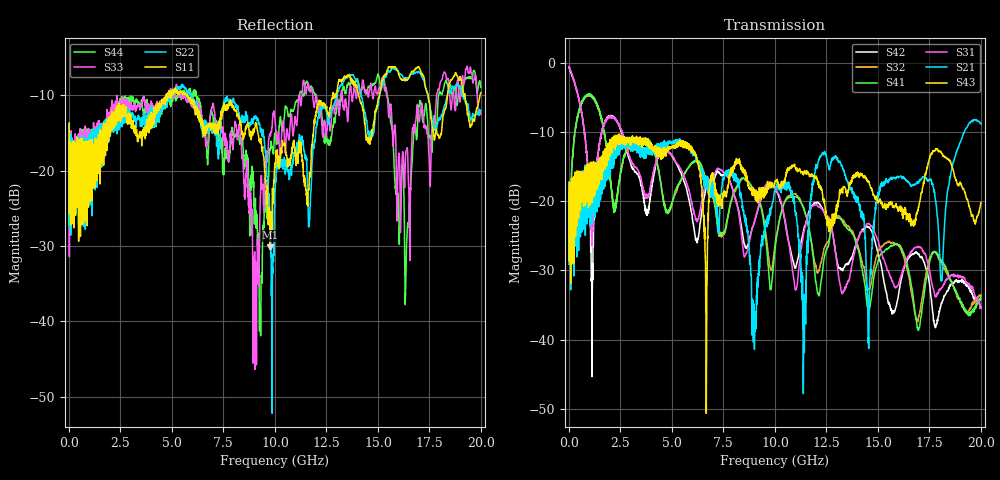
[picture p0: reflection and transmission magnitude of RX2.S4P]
# Hz S  RI  R 50
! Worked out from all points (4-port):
!   1601 points, 10 MHz to 20 GHz, reference 50 ohm
!   strongest paths, dB at 10 MHz, 5.008 GHz, 10.01 GHz, 15 GHz, 20 GHz:
!     S43: -17.2, -12.2, -17.1, -20.3, -20.2
!     S21: -17.3, -11.7, -18.6, -19.5, -8.8
!     S31: -0.6, -13.4, -18.0, -25.7, -35.5
!     S41: -29.1, -20.2, -27.0, -28.8, -33.8
!     S32: -29.1, -20.5, -26.3, -27.5, -33.6
!     S42: -0.7, -13.4, -18.1, -27.6, -35.3
!   lowest |S11| = -30.2 dB at 9.768 GHz (marker M1), VSWR 1.06, Z = 50.9 - j2.98 ohm
!   |S11| at or under -10 dB: start of sweep to 4.72 GHz; 5.759 GHz to 12.81 GHz (7.047 GHz wide, 75.9 % of centre); 14.06 GHz to 15.08 GHz (1.023 GHz wide, 7.02 % of centre)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
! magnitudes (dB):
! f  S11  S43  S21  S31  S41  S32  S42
! 10 MHz  -13.7  -17.2  -17.3  -0.6  -29.1  -29.1  -0.7
! 1.122 GHz  -24.0  -20.2  -23.2  -26.5  -4.7  -4.8  -45.4
! 1.984 GHz  -15.4  -12.8  -15.8  -7.8  -15.8  -15.9  -7.7
! 8.181 GHz  -12.5  -14.1  -17.1  -20.8  -17.7  -17.9  -20.7
! 9.03 GHz  -14.4  -19.0  -38.9  -22.6  -18.5  -18.4  -22.7
! 9.768 GHz  -30.2  -17.7  -21.6  -17.2  -32.7  -29.7  -17.3
! 20 GHz  -9.6  -20.2  -8.8  -35.5  -33.8  -33.6  -35.3
